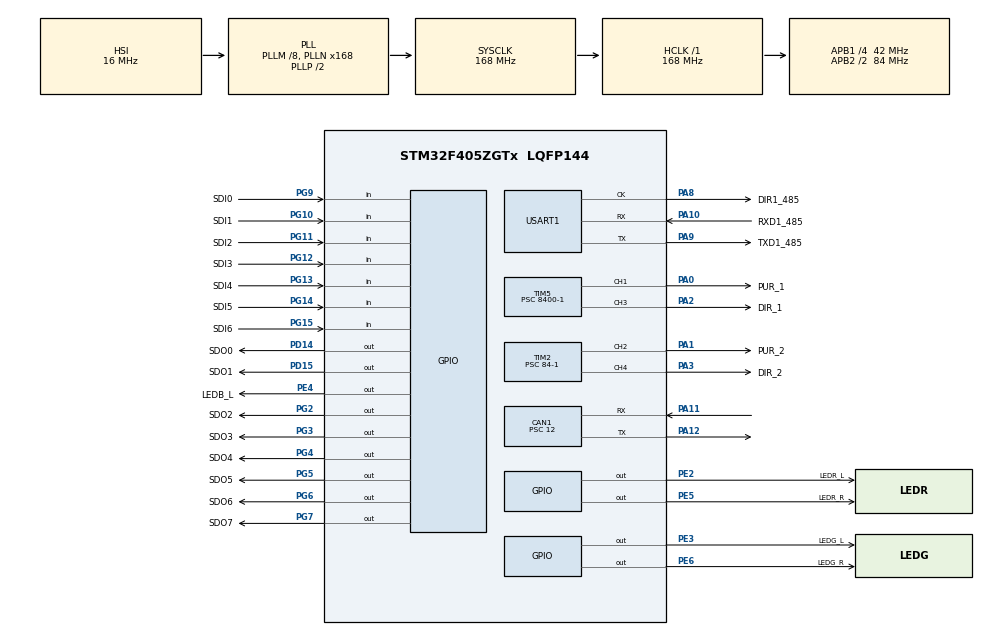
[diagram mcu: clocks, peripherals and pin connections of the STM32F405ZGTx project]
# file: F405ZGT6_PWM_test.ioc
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CAN1.BS1=CAN_BS1_11TQ
CAN1.BS2=CAN_BS2_2TQ
CAN1.CalculateBaudRate=250000
CAN1.CalculateTimeBit=4000
CAN1.CalculateTimeQuantum=285.7142857142857
CAN1.Prescaler=12
Mcu.Family=STM32F4
Mcu.Name=STM32F405ZGTx
Mcu.Package=LQFP144
NVIC.CAN1_RX0_IRQn=true\:0\:0\:false\:false\:true\:true\:true\:true
NVIC.CAN1_RX1_IRQn=true\:0\:0\:false\:false\:true\:true\:true\:true
NVIC.CAN1_SCE_IRQn=true\:0\:0\:false\:false\:true\:true\:true\:true
NVIC.CAN1_TX_IRQn=true\:0\:0\:false\:false\:true\:true\:true\:true
NVIC.PriorityGroup=NVIC_PRIORITYGROUP_4
NVIC.TIM7_IRQn=true\:0\:0\:false\:false\:true\:true\:true\:true
PA0-WKUP.GPIO_Label=PUR_1
PA0-WKUP.Signal=S_TIM5_CH1
PA1.GPIO_Label=PUR_2
PA1.Signal=S_TIM2_CH2
PA10.GPIO_Label=RXD1_485
PA10.Mode=Synchronous
PA10.Signal=USART1_RX
PA11.Mode=CAN_Activate
PA11.Signal=CAN1_RX
PA12.Mode=CAN_Activate
PA12.Signal=CAN1_TX
PA13.Mode=JTAG_5_pins
PA13.Signal=SYS_JTMS-SWDIO
PA14.Mode=JTAG_5_pins
PA14.Signal=SYS_JTCK-SWCLK
PA15.Mode=JTAG_5_pins
PA15.Signal=SYS_JTDI
PA2.GPIO_Label=DIR_1
PA2.Signal=S_TIM5_CH3
PA3.GPIO_Label=DIR_2
PA3.Signal=S_TIM2_CH4
PA8.GPIO_Label=DIR1_485
PA8.Mode=Synchronous
PA8.Signal=USART1_CK
PA9.GPIO_Label=TXD1_485
PA9.Mode=Synchronous
PA9.Signal=USART1_TX
PB3.Mode=JTAG_5_pins
PB3.Signal=SYS_JTDO-SWO
PB4.Mode=JTAG_5_pins
PB4.Signal=SYS_JTRST
PD14.GPIO_Label=SDO0
PD14.Signal=GPIO_Output
PD15.GPIO_Label=SDO1
PD15.Signal=GPIO_Output
PE2.GPIO_Label=LEDR_L
PE2.Signal=GPIO_Output
PE3.GPIO_Label=LEDG_L
PE3.Signal=GPIO_Output
PE4.GPIO_Label=LEDB_L
PE4.Signal=GPIO_Output
PE5.GPIO_Label=LEDR_R
PE5.Signal=GPIO_Output
PE6.GPIO_Label=LEDG_R
PE6.Signal=GPIO_Output
PG10.GPIO_Label=SDI1
PG10.Signal=GPIO_Input
PG11.GPIO_Label=SDI2
PG11.Signal=GPIO_Input
PG12.GPIO_Label=SDI3
PG12.Signal=GPIO_Input
PG13.GPIO_Label=SDI4
PG13.Signal=GPIO_Input
PG14.GPIO_Label=SDI5
PG14.Signal=GPIO_Input
PG15.GPIO_Label=SDI6
PG15.Signal=GPIO_Input
PG2.GPIO_Label=SDO2
PG2.Signal=GPIO_Output
PG3.GPIO_Label=SDO3
PG3.Signal=GPIO_Output
PG4.GPIO_Label=SDO4
PG4.Signal=GPIO_Output
PG5.GPIO_Label=SDO5
PG5.Signal=GPIO_Output
PG6.GPIO_Label=SDO6
PG6.Signal=GPIO_Output
PG7.GPIO_Label=SDO7
PG7.Signal=GPIO_Output
PG9.GPIO_Label=SDI0
PG9.Signal=GPIO_Input
PH0-OSC_IN.Mode=HSE-External-Oscillator
PH0-OSC_IN.Signal=RCC_OSC_IN
PH1-OSC_OUT.Mode=HSE-External-Oscillator
PH1-OSC_OUT.Signal=RCC_OSC_OUT
ProjectManager.HeapSize=0x200
ProjectManager.StackSize=0x400
ProjectManager.TargetToolchain=STM32CubeIDE
RCC.48MHZClocksFreq_Value=84000000
RCC.AHBFreq_Value=168000000
RCC.APB1CLKDivider=RCC_HCLK_DIV4
RCC.APB1Freq_Value=42000000
RCC.APB1TimFreq_Value=84000000
RCC.APB2CLKDivider=RCC_HCLK_DIV2
RCC.APB2Freq_Value=84000000
RCC.APB2TimFreq_Value=168000000
RCC.CortexFreq_Value=168000000
RCC.HCLKFreq_Value=168000000
RCC.HSE_VALUE=8000000
RCC.HSI_VALUE=16000000
RCC.LSE_VALUE=32768
RCC.PLLM=8
RCC.PLLN=168
RCC.SYSCLKFreq_VALUE=168000000
RCC.SYSCLKSource=RCC_SYSCLKSOURCE_PLLCLK
RCC.VCOOutputFreq_Value=336000000
SH.S_TIM2_CH2.0=TIM2_CH2,PWM Generation2 CH2
SH.S_TIM2_CH4.0=TIM2_CH4,PWM Generation4 CH4
SH.S_TIM5_CH1.0=TIM5_CH1,PWM Generation1 CH1
SH.S_TIM5_CH3.0=TIM5_CH3,PWM Generation3 CH3
TIM2.AutoReloadPreload=TIM_AUTORELOAD_PRELOAD_ENABLE
TIM2.Channel-PWM\ Generation2\ CH2=TIM_CHANNEL_2
TIM2.Channel-PWM\ Generation4\ CH4=TIM_CHANNEL_4
TIM2.OCPolarity_2=TIM_OCPOLARITY_LOW
TIM2.OCPolarity_4=TIM_OCPOLARITY_LOW
TIM2.Period=1000-1
TIM2.Prescaler=84-1
TIM5.AutoReloadPreload=TIM_AUTORELOAD_PRELOAD_ENABLE
TIM5.Channel-PWM\ Generation1\ CH1=TIM_CHANNEL_1
TIM5.Channel-PWM\ Generation3\ CH3=TIM_CHANNEL_3
TIM5.OCPolarity_1=TIM_OCPOLARITY_HIGH
TIM5.OCPolarity_3=TIM_OCPOLARITY_HIGH
TIM5.Period=10000-1
TIM5.Prescaler=8400-1
TIM5.Pulse-PWM\ Generation1\ CH1=5000-1
TIM7.AutoReloadPreload=TIM_AUTORELOAD_PRELOAD_ENABLE
TIM7.Period=10000-1
TIM7.Prescaler=8400-1
USART1.VirtualMode=VM_SYNC
VP_TIM2_VS_ClockSourceINT.Mode=Internal
VP_TIM5_VS_ClockSourceINT.Mode=Internal
VP_TIM7_VS_ClockSourceINT.Mode=Enable_Timer
board=custom

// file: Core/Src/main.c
/* USER CODE BEGIN Header */
/**
  ******************************************************************************
  * @file           : main.c
  * @brief          : Main program body
  ******************************************************************************
  * @attention
  *
  * Copyright (c) 2024 STMicroelectronics.
  * All rights reserved.
  *
  * This software is licensed under terms that can be found in the LICENSE file
  * in the root directory of this software component.
  * If no LICENSE file comes with this software, it is provided AS-IS.
  *
  ******************************************************************************
  */
/* USER CODE END Header */
#include "main.h"

CAN_HandleTypeDef hcan1;

TIM_HandleTypeDef htim2;
TIM_HandleTypeDef htim5;
TIM_HandleTypeDef htim7;

USART_HandleTypeDef husart1;

/* USER CODE BEGIN PV */
uint8_t timer;
uint8_t flag;
double arr = 500;
/* USER CODE END PV */

void SystemClock_Config(void);
static void MX_GPIO_Init(void);
static void MX_CAN1_Init(void);
static void MX_USART1_Init(void);
static void MX_TIM5_Init(void);
static void MX_TIM7_Init(void);
static void MX_TIM2_Init(void);

int main(void)
{

  /* MCU Configuration--------------------------------------------------------*/

  /* Reset of all peripherals, Initializes the Flash interface and the Systick. */
  HAL_Init();

  /* Configure the system clock */
  SystemClock_Config();

  /* Initialize all configured peripherals */
  MX_GPIO_Init();
  MX_CAN1_Init();
  MX_USART1_Init();
  MX_TIM5_Init();
  MX_TIM7_Init();
  MX_TIM2_Init();
  /* USER CODE BEGIN 2 */
  if (HAL_TIM_Base_Start_IT(&htim7) != HAL_OK)
  {
  	Error_Handler();
  }
	HAL_TIM_PWM_Start(&htim5, TIM_CHANNEL_1);
  /* USER CODE END 2 */

  /* Infinite loop */
  /* USER CODE BEGIN WHILE */
  while (1)
  {
  	if (flag)
  	{
  		flag = 0;

  		// the way to stop PWM

  		// 1. Set the CCRx to 0
  		if (arr == 0)
  		{
  			htim5.Instance->CCR1 = 0;
  		}

  		// 2. Set the ARR to 0, the timer will stop So you need to init the timer
  		if (arr == 0)
  		{
  			TIM5->ARR = arr;
  			TIM5->CCR1 = arr/2;
  			if (HAL_TIM_PWM_Init(&htim5) != HAL_OK)
				{
					Error_Handler();
				}
  		}

  		// 3. Use HAL library, you need to start the timer again
  		if (HAL_TIM_PWM_Stop(&htim5, TIM_CHANNEL_1) != HAL_OK)
  		{
  			Error_Handler();
  		}
  		if (HAL_TIM_PWM_Start(&htim5, TIM_CHANNEL_1) != HAL_OK)
  		{
  			Error_Handler();
  		}
  	}

  	arr = 0.6283185307179586476925286766559;
    /* USER CODE END WHILE */

  }
}

void SystemClock_Config(void)
{
  RCC_OscInitTypeDef RCC_OscInitStruct = {0};
  RCC_ClkInitTypeDef RCC_ClkInitStruct = {0};

  /** Configure the main internal regulator output voltage
  */
  __HAL_RCC_PWR_CLK_ENABLE();
  __HAL_PWR_VOLTAGESCALING_CONFIG(PWR_REGULATOR_VOLTAGE_SCALE1);

  /** Initializes the RCC Oscillators according to the specified parameters
  * in the RCC_OscInitTypeDef structure.
  */
  RCC_OscInitStruct.OscillatorType = RCC_OSCILLATORTYPE_HSI;
  RCC_OscInitStruct.HSIState = RCC_HSI_ON;
  RCC_OscInitStruct.HSICalibrationValue = RCC_HSICALIBRATION_DEFAULT;
  RCC_OscInitStruct.PLL.PLLState = RCC_PLL_ON;
  RCC_OscInitStruct.PLL.PLLSource = RCC_PLLSOURCE_HSI;
  RCC_OscInitStruct.PLL.PLLM = 8;
  RCC_OscInitStruct.PLL.PLLN = 168;
  RCC_OscInitStruct.PLL.PLLP = RCC_PLLP_DIV2;
  RCC_OscInitStruct.PLL.PLLQ = 4;
  if (HAL_RCC_OscConfig(&RCC_OscInitStruct) != HAL_OK)
  {
    Error_Handler();
  }

  /** Initializes the CPU, AHB and APB buses clocks
  */
  RCC_ClkInitStruct.ClockType = RCC_CLOCKTYPE_HCLK|RCC_CLOCKTYPE_SYSCLK
                              |RCC_CLOCKTYPE_PCLK1|RCC_CLOCKTYPE_PCLK2;
  RCC_ClkInitStruct.SYSCLKSource = RCC_SYSCLKSOURCE_PLLCLK;
  RCC_ClkInitStruct.AHBCLKDivider = RCC_SYSCLK_DIV1;
  RCC_ClkInitStruct.APB1CLKDivider = RCC_HCLK_DIV4;
  RCC_ClkInitStruct.APB2CLKDivider = RCC_HCLK_DIV2;

  if (HAL_RCC_ClockConfig(&RCC_ClkInitStruct, FLASH_LATENCY_5) != HAL_OK)
  {
    Error_Handler();
  }
}

static void MX_CAN1_Init(void)
{

  hcan1.Instance = CAN1;
  hcan1.Init.Prescaler = 12;
  hcan1.Init.Mode = CAN_MODE_NORMAL;
  hcan1.Init.SyncJumpWidth = CAN_SJW_1TQ;
  hcan1.Init.TimeSeg1 = CAN_BS1_11TQ;
  hcan1.Init.TimeSeg2 = CAN_BS2_2TQ;
  hcan1.Init.TimeTriggeredMode = DISABLE;
  hcan1.Init.AutoBusOff = DISABLE;
  hcan1.Init.AutoWakeUp = DISABLE;
  hcan1.Init.AutoRetransmission = DISABLE;
  hcan1.Init.ReceiveFifoLocked = DISABLE;
  hcan1.Init.TransmitFifoPriority = DISABLE;
  if (HAL_CAN_Init(&hcan1) != HAL_OK)
  {
    Error_Handler();
  }

}

static void MX_TIM2_Init(void)
{

  TIM_ClockConfigTypeDef sClockSourceConfig = {0};
  TIM_MasterConfigTypeDef sMasterConfig = {0};
  TIM_OC_InitTypeDef sConfigOC = {0};

  htim2.Instance = TIM2;
  htim2.Init.Prescaler = 84-1;
  htim2.Init.CounterMode = TIM_COUNTERMODE_UP;
  htim2.Init.Period = 1000-1;
  htim2.Init.ClockDivision = TIM_CLOCKDIVISION_DIV1;
  htim2.Init.AutoReloadPreload = TIM_AUTORELOAD_PRELOAD_ENABLE;
  if (HAL_TIM_Base_Init(&htim2) != HAL_OK)
  {
    Error_Handler();
  }
  sClockSourceConfig.ClockSource = TIM_CLOCKSOURCE_INTERNAL;
  if (HAL_TIM_ConfigClockSource(&htim2, &sClockSourceConfig) != HAL_OK)
  {
    Error_Handler();
  }
  if (HAL_TIM_PWM_Init(&htim2) != HAL_OK)
  {
    Error_Handler();
  }
  sMasterConfig.MasterOutputTrigger = TIM_TRGO_RESET;
  sMasterConfig.MasterSlaveMode = TIM_MASTERSLAVEMODE_DISABLE;
  if (HAL_TIMEx_MasterConfigSynchronization(&htim2, &sMasterConfig) != HAL_OK)
  {
    Error_Handler();
  }
  sConfigOC.OCMode = TIM_OCMODE_PWM1;
  sConfigOC.Pulse = 0;
  sConfigOC.OCPolarity = TIM_OCPOLARITY_LOW;
  sConfigOC.OCFastMode = TIM_OCFAST_DISABLE;
  if (HAL_TIM_PWM_ConfigChannel(&htim2, &sConfigOC, TIM_CHANNEL_2) != HAL_OK)
  {
    Error_Handler();
  }
  if (HAL_TIM_PWM_ConfigChannel(&htim2, &sConfigOC, TIM_CHANNEL_4) != HAL_OK)
  {
    Error_Handler();
  }
  HAL_TIM_MspPostInit(&htim2);

}

static void MX_TIM5_Init(void)
{

  TIM_ClockConfigTypeDef sClockSourceConfig = {0};
  TIM_MasterConfigTypeDef sMasterConfig = {0};
  TIM_OC_InitTypeDef sConfigOC = {0};

  htim5.Instance = TIM5;
  htim5.Init.Prescaler = 8400-1;
  htim5.Init.CounterMode = TIM_COUNTERMODE_UP;
  htim5.Init.Period = 10000-1;
  htim5.Init.ClockDivision = TIM_CLOCKDIVISION_DIV1;
  htim5.Init.AutoReloadPreload = TIM_AUTORELOAD_PRELOAD_ENABLE;
  if (HAL_TIM_Base_Init(&htim5) != HAL_OK)
  {
    Error_Handler();
  }
  sClockSourceConfig.ClockSource = TIM_CLOCKSOURCE_INTERNAL;
  if (HAL_TIM_ConfigClockSource(&htim5, &sClockSourceConfig) != HAL_OK)
  {
    Error_Handler();
  }
  if (HAL_TIM_PWM_Init(&htim5) != HAL_OK)
  {
    Error_Handler();
  }
  sMasterConfig.MasterOutputTrigger = TIM_TRGO_RESET;
  sMasterConfig.MasterSlaveMode = TIM_MASTERSLAVEMODE_DISABLE;
  if (HAL_TIMEx_MasterConfigSynchronization(&htim5, &sMasterConfig) != HAL_OK)
  {
    Error_Handler();
  }
  sConfigOC.OCMode = TIM_OCMODE_PWM1;
  sConfigOC.Pulse = 5000-1;
  sConfigOC.OCPolarity = TIM_OCPOLARITY_HIGH;
  sConfigOC.OCFastMode = TIM_OCFAST_DISABLE;
  if (HAL_TIM_PWM_ConfigChannel(&htim5, &sConfigOC, TIM_CHANNEL_1) != HAL_OK)
  {
    Error_Handler();
  }
  sConfigOC.Pulse = 0;
  if (HAL_TIM_PWM_ConfigChannel(&htim5, &sConfigOC, TIM_CHANNEL_3) != HAL_OK)
  {
    Error_Handler();
  }
  HAL_TIM_MspPostInit(&htim5);

}

static void MX_TIM7_Init(void)
{

  TIM_MasterConfigTypeDef sMasterConfig = {0};

  htim7.Instance = TIM7;
  htim7.Init.Prescaler = 8400-1;
  htim7.Init.CounterMode = TIM_COUNTERMODE_UP;
  htim7.Init.Period = 10000-1;
  htim7.Init.AutoReloadPreload = TIM_AUTORELOAD_PRELOAD_ENABLE;
  if (HAL_TIM_Base_Init(&htim7) != HAL_OK)
  {
    Error_Handler();
  }
  sMasterConfig.MasterOutputTrigger = TIM_TRGO_RESET;
  sMasterConfig.MasterSlaveMode = TIM_MASTERSLAVEMODE_DISABLE;
  if (HAL_TIMEx_MasterConfigSynchronization(&htim7, &sMasterConfig) != HAL_OK)
  {
    Error_Handler();
  }

}

static void MX_USART1_Init(void)
{

  husart1.Instance = USART1;
  husart1.Init.BaudRate = 115200;
  husart1.Init.WordLength = USART_WORDLENGTH_8B;
  husart1.Init.StopBits = USART_STOPBITS_1;
  husart1.Init.Parity = USART_PARITY_NONE;
  husart1.Init.Mode = USART_MODE_TX_RX;
  husart1.Init.CLKPolarity = USART_POLARITY_LOW;
  husart1.Init.CLKPhase = USART_PHASE_1EDGE;
  husart1.Init.CLKLastBit = USART_LASTBIT_DISABLE;
  if (HAL_USART_Init(&husart1) != HAL_OK)
  {
    Error_Handler();
  }

}

static void MX_GPIO_Init(void)
{
  GPIO_InitTypeDef GPIO_InitStruct = {0};

  /* GPIO Ports Clock Enable */
  __HAL_RCC_GPIOE_CLK_ENABLE();
  __HAL_RCC_GPIOH_CLK_ENABLE();
  __HAL_RCC_GPIOA_CLK_ENABLE();
  __HAL_RCC_GPIOD_CLK_ENABLE();
  __HAL_RCC_GPIOG_CLK_ENABLE();
  __HAL_RCC_GPIOB_CLK_ENABLE();

  /*Configure GPIO pin Output Level */
  HAL_GPIO_WritePin(GPIOE, LEDR_L_Pin|LEDG_L_Pin|LEDB_L_Pin|LEDR_R_Pin
                          |LEDG_R_Pin, GPIO_PIN_RESET);

  /*Configure GPIO pin Output Level */
  HAL_GPIO_WritePin(GPIOD, SDO0_Pin|SDO1_Pin, GPIO_PIN_RESET);

  /*Configure GPIO pin Output Level */
  HAL_GPIO_WritePin(GPIOG, SDO2_Pin|SDO3_Pin|SDO4_Pin|SDO5_Pin
                          |SDO6_Pin|SDO7_Pin, GPIO_PIN_RESET);

  /*Configure GPIO pins : LEDR_L_Pin LEDG_L_Pin LEDB_L_Pin LEDR_R_Pin
                           LEDG_R_Pin */
  GPIO_InitStruct.Pin = LEDR_L_Pin|LEDG_L_Pin|LEDB_L_Pin|LEDR_R_Pin
                          |LEDG_R_Pin;
  GPIO_InitStruct.Mode = GPIO_MODE_OUTPUT_PP;
  GPIO_InitStruct.Pull = GPIO_NOPULL;
  GPIO_InitStruct.Speed = GPIO_SPEED_FREQ_LOW;
  HAL_GPIO_Init(GPIOE, &GPIO_InitStruct);

  /*Configure GPIO pins : SDO0_Pin SDO1_Pin */
  GPIO_InitStruct.Pin = SDO0_Pin|SDO1_Pin;
  GPIO_InitStruct.Mode = GPIO_MODE_OUTPUT_PP;
  GPIO_InitStruct.Pull = GPIO_NOPULL;
  GPIO_InitStruct.Speed = GPIO_SPEED_FREQ_LOW;
  HAL_GPIO_Init(GPIOD, &GPIO_InitStruct);

  /*Configure GPIO pins : SDO2_Pin SDO3_Pin SDO4_Pin SDO5_Pin
                           SDO6_Pin SDO7_Pin */
  GPIO_InitStruct.Pin = SDO2_Pin|SDO3_Pin|SDO4_Pin|SDO5_Pin
                          |SDO6_Pin|SDO7_Pin;
  GPIO_InitStruct.Mode = GPIO_MODE_OUTPUT_PP;
  GPIO_InitStruct.Pull = GPIO_NOPULL;
  GPIO_InitStruct.Speed = GPIO_SPEED_FREQ_LOW;
  HAL_GPIO_Init(GPIOG, &GPIO_InitStruct);

  /*Configure GPIO pins : SDI0_Pin SDI1_Pin SDI2_Pin SDI3_Pin
                           SDI4_Pin SDI5_Pin SDI6_Pin */
  GPIO_InitStruct.Pin = SDI0_Pin|SDI1_Pin|SDI2_Pin|SDI3_Pin
                          |SDI4_Pin|SDI5_Pin|SDI6_Pin;
  GPIO_InitStruct.Mode = GPIO_MODE_INPUT;
  GPIO_InitStruct.Pull = GPIO_NOPULL;
  HAL_GPIO_Init(GPIOG, &GPIO_InitStruct);

}

/* USER CODE BEGIN 4 */
void HAL_TIM_PeriodElapsedCallback(TIM_HandleTypeDef *htim)
{
	if (htim->Instance == htim7.Instance)
	{
		timer++;
//		flag = 1;
	}
}

/* USER CODE END 4 */

void Error_Handler(void)
{
  __disable_irq();
  while (1)
  {
  }
}
